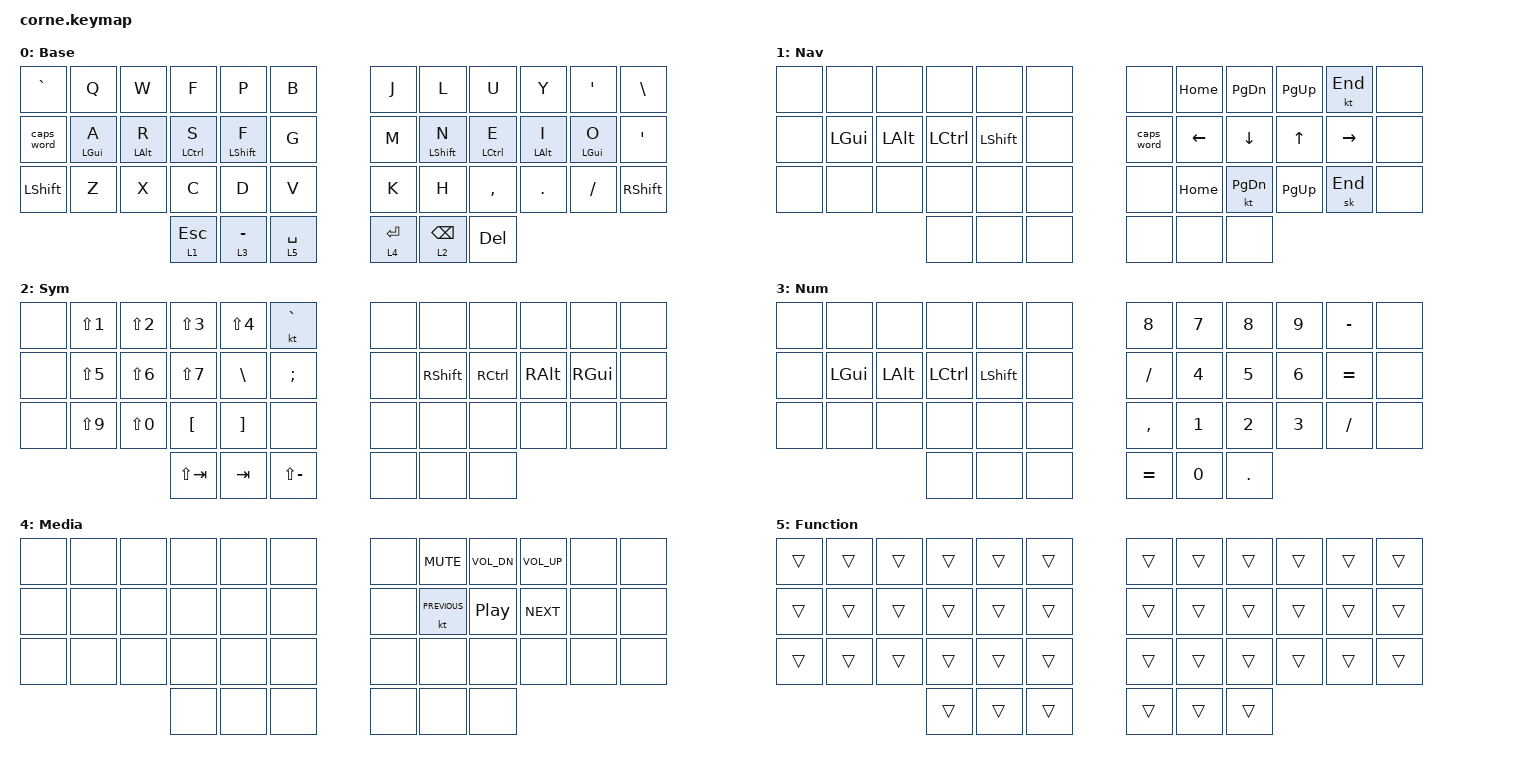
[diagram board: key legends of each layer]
/*
 * Copyright (c) 2020 The ZMK Contributors
 *
 * SPDX-License-Identifier: MIT
 */

#include <behaviors.dtsi>
#include <dt-bindings/zmk/keys.h>

&lt {
    flavor = "hold-preferred";
    tapping-term-ms = <200>;
    quick-tap-ms = <200>;
    hold-while-undecided;
    hold-trigger-on-release;
};

/ {
    combos {
        compatible = "zmk,combos";

        Caps {
            bindings = <&kp CAPSLOCK>;
            key-positions = <24 35>;
        };

        Capword {
            bindings = <&caps_word>;
            key-positions = <37 40>;
        };
    };

    behaviors {
        oneshot: oneshot {
            compatible = "zmk,behavior-sticky-key";
            label = "os";
            bindings = <&kp>;
            #binding-cells = <1>;
            release-after-ms = <1000>;
            quick-release;
            ignore-modifiers;
        };

        layer_oneshot_hold: lo_hold {
            compatible = "zmk,behavior-hold-tap";
            label = "lo_hold";
            bindings = <&mo>, <&oneshot>;

            #binding-cells = <2>;
            tapping-term-ms = <200>;
            flavor = "hold-preferred";
            quick-tap-ms = <200>;
            hold-while-undecided;
        };

        ltmiryoku: mlt {
            compatible = "zmk,behavior-hold-tap";
            label = "LTMIRYOKU";
            bindings = <&mo>, <&kp>;

            #binding-cells = <2>;
            tapping-term-ms = <200>;
            flavor = "tap-preferred";
            quick-tap-ms = <200>;
            require-prior-idle-ms = <125>;
        };

        home_row_mod: hrm {
            compatible = "zmk,behavior-hold-tap";
            label = "HOME_ROW_MOD";
            bindings = <&kp>, <&kp>;

            #binding-cells = <2>;
            flavor = "tap-preferred";
            tapping-term-ms = <200>;
            quick-tap-ms = <200>;
        };
    };

    keymap {
        compatible = "zmk,keymap";

        base {
            display-name = "Base";
            bindings = <
&kp GRAVE   &kp Q                     &kp W                     &kp F                         &kp P                       &kp B                 &kp J                &kp L                       &kp U                         &kp Y                     &kp APOS                  &kp BACKSLASH
&caps_word  &home_row_mod LEFT_GUI A  &home_row_mod LEFT_ALT R  &home_row_mod LEFT_CONTROL S  &home_row_mod LEFT_SHIFT F  &kp G                 &kp M                &home_row_mod LEFT_SHIFT N  &home_row_mod LEFT_CONTROL E  &home_row_mod LEFT_ALT I  &home_row_mod LEFT_GUI O  &kp SQT
&kp LSHFT   &kp Z                     &kp X                     &kp C                         &kp D                       &kp V                 &kp K                &kp H                       &kp COMMA                     &kp DOT                   &kp FSLH                  &kp RSHFT
                                                                &ltmiryoku 1 ESCAPE           &ltmiryoku 3 MINUS          &ltmiryoku 5 SPACE    &ltmiryoku 4 RETURN  &ltmiryoku 2 BACKSPACE      &kp DELETE
            >;
        };

        Nav {
            bindings = <
&none  &none     &none     &none      &none      &none    &none       &kp HOME  &kp PAGE_DOWN  &kp PG_UP     &kt END    &none
&none  &kp LGUI  &kp LALT  &kp LCTRL  &kp LSHFT  &none    &caps_word  &kp LEFT  &kp DOWN       &kp UP_ARROW  &kp RIGHT  &none
&none  &none     &none     &none      &none      &none    &none       &kp HOME  &kt PAGE_DOWN  &kp PG_UP     &sk END    &none
                           &none      &none      &none    &none       &none     &none
            >;

            label = "Nav";
        };

        Sym {
            bindings = <
&none  &kp LS(N1)  &kp LS(N2)  &kp LS(N3)   &kp LS(N4)  &kt GRAVE        &none  &none      &none      &none     &none     &none
&none  &kp LS(N5)  &kp LS(N6)  &kp LS(N7)   &kp BSLH    &kp SEMI         &none  &kp RSHFT  &kp RCTRL  &kp RALT  &kp RGUI  &none
&none  &kp LS(N9)  &kp LS(N0)  &kp LBKT     &kp RBKT    &none            &none  &none      &none      &none     &none     &none
                               &kp LS(TAB)  &kp TAB     &kp LS(MINUS)    &none  &none      &none
            >;

            label = "Sym";
        };

        Num {
            label = "Num";
            bindings = <
&none  &none     &none     &none      &none      &none    &kp N8     &kp N7  &kp N8   &kp N9  &kp MINUS  &none
&none  &kp LGUI  &kp LALT  &kp LCTRL  &kp LSHFT  &none    &kp FSLH   &kp N4  &kp N5   &kp N6  &kp EQUAL  &none
&none  &none     &none     &none      &none      &none    &kp COMMA  &kp N1  &kp N2   &kp N3  &kp FSLH   &none
                           &none      &none      &none    &kp EQUAL  &kp N0  &kp DOT
            >;
        };

        Media {
            bindings = <
&none  &none  &none  &none  &none  &none    &none  &kp C_MUTE      &kp C_VOL_DN      &kp C_VOLUME_UP  &none  &none
&none  &none  &none  &none  &none  &none    &none  &kt C_PREVIOUS  &kp C_PLAY_PAUSE  &kp C_NEXT       &none  &none
&none  &none  &none  &none  &none  &none    &none  &none           &none             &none            &none  &none
                     &none  &none  &none    &none  &none           &none
            >;

            label = "Media";
        };

        Function {
            bindings = <
&trans  &trans  &trans  &trans  &trans  &trans    &trans  &trans  &trans  &trans  &trans  &trans
&trans  &trans  &trans  &trans  &trans  &trans    &trans  &trans  &trans  &trans  &trans  &trans
&trans  &trans  &trans  &trans  &trans  &trans    &trans  &trans  &trans  &trans  &trans  &trans
                        &trans  &trans  &trans    &trans  &trans  &trans
            >;

            label = "Function";
        };
    };
};
